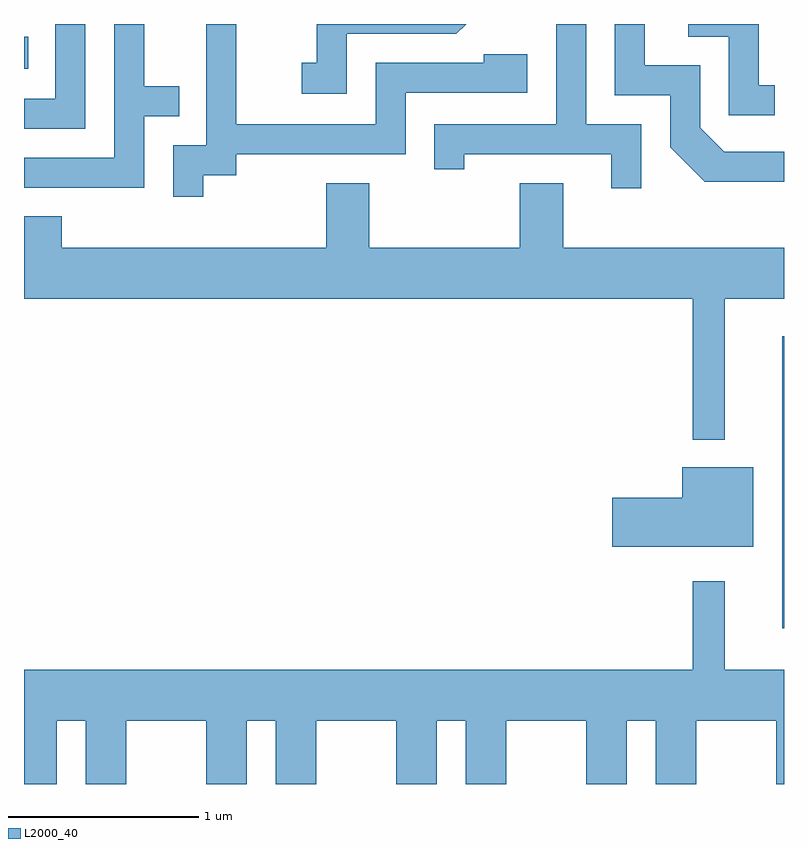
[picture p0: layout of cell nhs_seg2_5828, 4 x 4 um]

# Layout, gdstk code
import gdstk
lib = gdstk.Library(unit=1e-6, precision=1e-09)
def R(c, l, rs):  # rectangles x0, y0, x1, y1
    for r in rs: c.add(gdstk.rectangle(r[:2], r[2:], *l))
def P(c, l, *ps):  # polygons
    for p in ps: c.add(gdstk.Polygon(p, *l))
L2000_40 = (2000, 40)

nhs_seg2_5828 = lib.new_cell('nhs_seg2_5828')
R(nhs_seg2_5828, L2000_40, [(361.601,1006.623,361.611,1008.159), (357.611,1009.566,357.633,1009.734)])
P(nhs_seg2_5828, L2000_40, [(357.934,1009.802),(357.776,1009.802),(357.776,1009.409),(357.611,1009.409),(357.611,1009.251),(357.934,1009.251)],
  [(361.563,1009.479),(361.479,1009.479),(361.479,1009.802),(361.106,1009.802),(361.106,1009.736),(361.321,1009.736),(361.321,1009.321),(361.563,1009.321)],
  [(358.244,1009.316),(358.428,1009.316),(358.428,1009.474),(358.244,1009.474),(358.244,1009.802),(358.086,1009.802),(358.086,1009.099),(357.611,1009.099),(357.611,1008.941),(358.244,1008.941)],
  [(361.611,1009.129),(361.297,1009.129),(361.169,1009.257),(361.169,1009.584),(360.879,1009.584),(360.879,1009.802),(360.721,1009.802),(360.721,1009.426),(361.011,1009.426),(361.011,1009.154),(361.194,1008.971),(361.611,1008.971)],
  [(360.859,1009.274),(360.569,1009.274),(360.569,1009.802),(360.411,1009.802),(360.411,1009.274),(359.771,1009.274),(359.771,1009.038),(359.929,1009.038),(359.929,1009.116),(360.701,1009.116),(360.701,1008.938),(360.859,1008.938)],
  [(359.309,1009.751),(359.887,1009.751),(359.938,1009.802),(359.151,1009.802),(359.151,1009.599),(359.073,1009.599),(359.073,1009.436),(359.309,1009.436)],
  [(358.554,1009.006),(358.729,1009.006),(358.729,1009.116),(359.619,1009.116),(359.619,1009.441),(360.259,1009.441),(360.259,1009.644),(360.031,1009.644),(360.031,1009.599),(359.461,1009.599),(359.461,1009.274),(358.729,1009.274),(358.729,1009.802),(358.571,1009.802),(358.571,1009.164),(358.396,1009.164),(358.396,1008.893),(358.554,1008.893)],
  [(361.299,1008.356),(361.611,1008.356),(361.611,1008.624),(360.449,1008.624),(360.449,1008.964),(360.221,1008.964),(360.221,1008.624),(359.429,1008.624),(359.429,1008.964),(359.201,1008.964),(359.201,1008.624),(357.809,1008.624),(357.809,1008.789),(357.611,1008.789),(357.611,1008.356),(361.131,1008.356),(361.131,1007.613),(361.299,1007.613)],
  [(361.449,1007.469),(361.076,1007.469),(361.076,1007.309),(360.706,1007.309),(360.706,1007.051),(361.449,1007.051)],
  [(357.784,1006.136),(357.936,1006.136),(357.936,1005.802),(358.149,1005.802),(358.149,1006.136),(358.571,1006.136),(358.571,1005.802),(358.784,1005.802),(358.784,1006.136),(358.936,1006.136),(358.936,1005.802),(359.149,1005.802),(359.149,1006.136),(359.571,1006.136),(359.571,1005.802),(359.784,1005.802),(359.784,1006.136),(359.936,1006.136),(359.936,1005.802),(360.149,1005.802),(360.149,1006.136),(360.571,1006.136),(360.571,1005.802),(360.784,1005.802),(360.784,1006.136),(360.936,1006.136),(360.936,1005.802),(361.149,1005.802),(361.149,1006.136),(361.571,1006.136),(361.571,1005.802),(361.611,1005.802),(361.611,1006.404),(361.299,1006.404),(361.299,1006.868),(361.131,1006.868),(361.131,1006.404),(357.611,1006.404),(357.611,1005.802),(357.784,1005.802)])

lib.write_gds('nhs_seg2_5828.gds')
